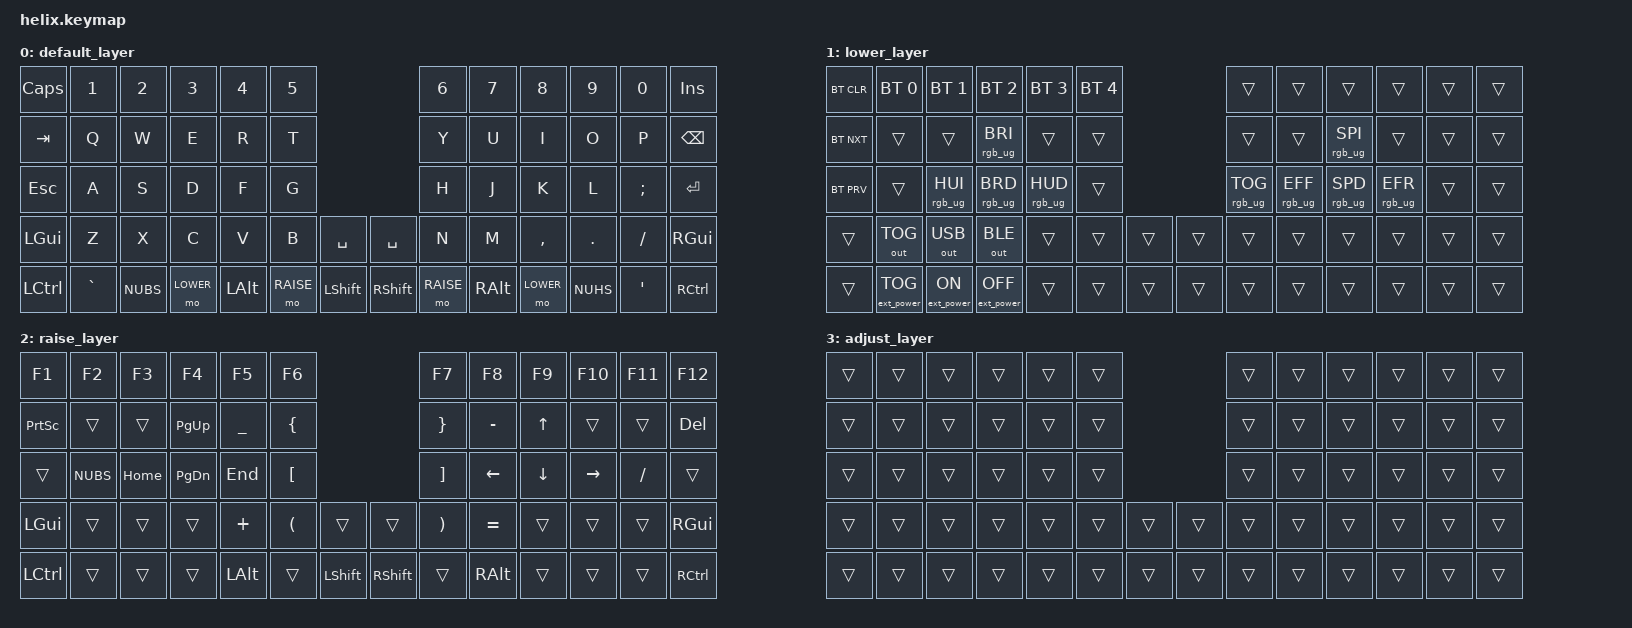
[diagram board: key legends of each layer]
/*
 * Copyright (c) 2020 The ZMK Contributors
 *
 * SPDX-License-Identifier: MIT
 */

 #include <behaviors.dtsi>
 #include <dt-bindings/zmk/keys.h>
 #include <dt-bindings/zmk/bt.h>
 #include <dt-bindings/zmk/rgb.h>
 #include <dt-bindings/zmk/ext_power.h>
 #include <dt-bindings/zmk/outputs.h>

 #define DEFAULT 0
 #define LOWER  1
 #define RAISE  2
 #define ADJUST 3

/* NOTE: At the time of the creation of this keymap, there are no specified codes for 'eisuu' and 'kana' input in ZMK.
However, 'LANG1' and 'LANG2' are fully-functioning candidates for 'kana' and 'eisuu' input respectively.
As such, those are in use within the default layer at this time.*/

/ {
       keymap {
              compatible = "zmk,keymap";
 
              default_layer {
 // ---------------------------------------------------------------------------------------------------------------------------------
 // |  CAPS  |   1    |   2    |   3    |   4    |   5    |                                      |   6    |   7    |   8    |   9    |   0    |  INS   |
 // |  TAB   |   Q    |   W    |   E    |   R    |   T    |                                      |   Y    |   U    |   I    |   O    |   P    |  BSPC  |
 // |  CTRL  |   A    |   S    |   D    |   F    |   G    |                                      |   H    |   J    |   K    |   L    |   ;    |  RET   |
 // |  LGUI  |   Z    |   X    |   C    |   V    |   B    | SPACE  |                    |  SPACE |   N    |   M    |   ,    |   .    |   /    |  RGUI  |
 // |  LCTRL | GRAVE  |  NUBS  |  RAISE |  LALT  | LOWER  | LSHIFT |                    | RSHIFT | LOWER  |  RALT  |  RAISE |  NUHS  |   '    | RSHIFT |
                     bindings = <
       &kp CAPS   &kp N1    &kp N2   &kp N3    &kp N4    &kp N5                                 &kp N6    &kp N7    &kp N8    &kp N9     &kp N0    &kp INS
       &kp TAB    &kp Q     &kp W    &kp E     &kp R     &kp T                                  &kp Y     &kp U     &kp I     &kp O      &kp P     &kp BSPC
       &kp ESC    &kp A     &kp S    &kp D     &kp F     &kp G                                  &kp H     &kp J     &kp K     &kp L      &kp SEMI  &kp RET
       &kp LGUI   &kp Z     &kp X    &kp C     &kp V     &kp B     &kp SPACE         &kp SPACE  &kp N     &kp M     &kp COMMA &kp PERIOD &kp SLASH &kp RGUI
       &kp LCTRL  &kp GRAVE &kp NUBS &mo LOWER &kp LALT  &mo RAISE &kp LSHIFT        &kp RSHIFT &mo RAISE &kp RALT  &mo LOWER &kp NUHS   &kp SQT   &kp RCTRL
                     >;
              };
              lower_layer {
 // |  BT CLR  | BT SEL0  | BT SEL1  | BT SEL2  | BGT SEL3 | BT SEL4  |                                          |          |          |          |          |          |          |
 // |  BT NXT  |          |          |  BR-     |          |          |                                          |          |          | RGB SP+  |          |          |          |
 // |  BT PRV  |          |  HUI+    |  BR+     |  HUI-    |          |                                          | RGB TOG  | RGB EF+  | RGB SP-  | RGB EF-  |          |          |
 // |          |  OUT_TOG | OUT_USB  |  OUT_BLE |          |          |          |                    |          |          |          |          |          |          |          |
 // |          |  EP_TOG  | EP_ON    |  EP_OFF  |          |          |          |                    |          |          |          |          |          |          |          |
                     bindings = <
       &bt BT_CLR &bt BT_SEL 0      &bt BT_SEL 1     &bt BT_SEL 2      &bt BT_SEL 3    &bt BT_SEL 4                     &trans          &trans          &trans          &trans          &trans &trans
       &bt BT_NXT &trans            &trans           &rgb_ug RGB_BRI   &trans          &trans                           &trans          &trans          &rgb_ug RGB_SPI &trans          &trans &trans
       &bt BT_PRV &trans            &rgb_ug RGB_HUI  &rgb_ug RGB_BRD   &rgb_ug RGB_HUD &trans                           &rgb_ug RGB_TOG &rgb_ug RGB_EFF &rgb_ug RGB_SPD &rgb_ug RGB_EFR &trans &trans
       &trans     &out OUT_TOG      &out OUT_USB     &out OUT_BLE      &trans          &trans       &trans     &trans   &trans          &trans          &trans          &trans          &trans &trans
       &trans     &ext_power EP_TOG &ext_power EP_ON &ext_power EP_OFF &trans          &trans       &trans     &trans   &trans          &trans          &trans          &trans          &trans &trans
                     >;
              };
              raise_layer {
 // ---------------------------------------------------------------------------------------------------------------------------------
 // |  F1  |  F2  |  F3  |  F4   |  F5  |  F6  |                                  |  F7  |  F8  |  F9  |  F10 |  F11 |  F12 |
 // | PSCRN|      |      | PG_UP |  _   |  {   |                                  |  }   |  -   |  UP  |      |      |  DEL |
 // |      | NUBS | HOME | PG_DN |  END |  [   |                                  |  ]   | LEFT | DOWN |RIGHT |  /   |      |
 // | LGUI |      |      |       |  =   |  (   |      |                    |      |  )   |  +   |      |      |      | RGUI |
 // | LCTRL|      |      |       | LALT |      |LSHIFT|                    |RSHIFT|      | RALT |      |      |      |RCTRL |
                     bindings = <
       &kp F1    &kp F2     &kp F3     &kp F4    &kp F5        &kp F6                       &kp F7    &kp F8 &kp F9 &kp F10 &kp F11  &kp F12
       &kp PSCRN &trans &trans   &kp PG_UP   &kp UNDER &kp LBRC                              &kp RBRC  &kp MINUS &kp UP    &trans    &trans    &kp DEL
       &trans    &kp NUBS &kp HOME &kp PG_DN &kp END   &kp LBKT                              &kp RBKT  &kp LEFT  &kp DOWN  &kp RIGHT &kp SLASH &trans
       &kp LGUI  &trans &trans   &trans      &kp PLUS  &kp LPAR &trans            &trans     &kp RPAR  &kp EQUAL &trans    &trans    &trans    &kp RGUI
       &kp LCTRL &trans &trans   &trans      &kp LALT  &trans   &kp LSHIFT        &kp RSHIFT &trans    &kp RALT  &trans    &trans    &trans    &kp RCTRL
                     >;
              };
              adjust_layer {
 // ---------------------------------------------------------------------------------------------------------------------------------
                     bindings = <
       &trans &trans &trans &trans &trans &trans                      &trans &trans &trans &trans &trans &trans
       &trans &trans &trans &trans &trans &trans                      &trans &trans &trans &trans &trans &trans
       &trans &trans &trans &trans &trans &trans                      &trans &trans &trans &trans &trans &trans
       &trans &trans &trans &trans &trans &trans &trans        &trans &trans &trans &trans &trans &trans &trans
       &trans &trans &trans &trans &trans &trans &trans        &trans &trans &trans &trans &trans &trans &trans    
                     >;
              };
       };
};
